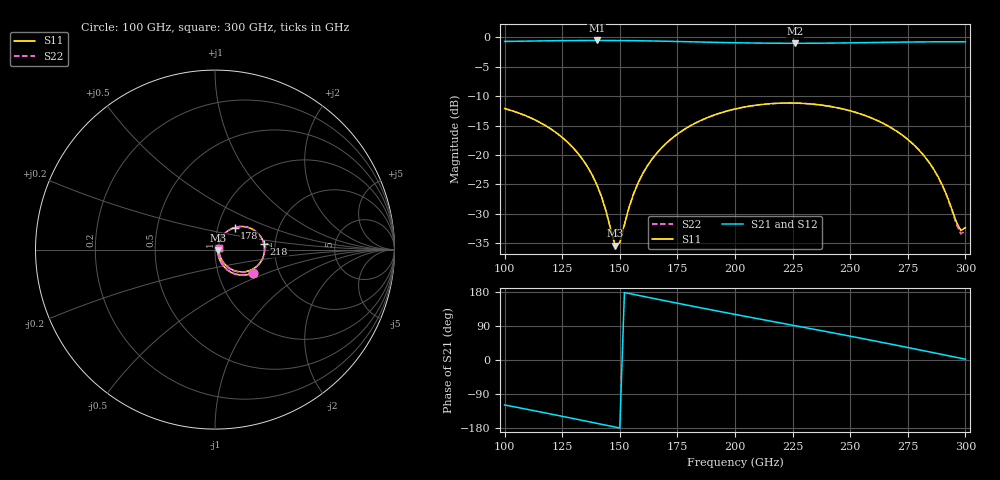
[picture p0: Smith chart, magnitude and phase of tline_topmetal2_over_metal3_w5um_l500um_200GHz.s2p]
#  GHZ S DB R 50
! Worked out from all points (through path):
!   101 points, 100 GHz to 300 GHz, reference 50 ohm
!   highest |S21| = -0.54 dB at 140 GHz (marker M1); lowest = -1.0 dB at 226 GHz (marker M2)
!   group delay of S21, straight-line fit = 3.3 ps
!   lowest |S11| = -35.4 dB at 148 GHz (marker M3), VSWR 1.03, Z = 51.6 - j0.517 ohm
!   |S11| at or under -10 dB: start of sweep to end of sweep
!   |S22| runs from -35.5 to -11.2 dB; largest |S21 - S12| = 1.1e-14
!   S11 on the Smith chart (normalised r, x): 100 GHz: 1.47, -0.41; 178 GHz: 1.20, +0.30; 218 GHz: 1.75, +0.12; 300 GHz: 1.05, +0.02
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100  -12.11 -31.4  -0.71 -118.6  -0.71 -118.6  -12.11 -31.6
120  -15.56 -52.3  -0.60 -142.5  -0.60 -142.5  -15.56 -52.5
134  -20.83 -64.0  -0.55 -159.7  -0.55 -159.7  -20.83 -64.3
140  -25.03 -64.5  -0.54 -167.1  -0.54 -167.1  -25.03 -64.9
144  -29.50 -57.1  -0.54 -172.1  -0.54 -172.1  -29.52 -57.6
148  -35.40 -17.1  -0.55 -177.0  -0.55 -177.0  -35.50 -17.6
150  -34.91 21.4  -0.56 -179.5  -0.56 -179.5  -35.00 21.5
154  -28.91 54.8  -0.57 175.6  -0.57 175.6  -28.94 54.9
158  -24.69 60.9  -0.59 170.6  -0.59 170.6  -24.70 60.9
168  -18.84 57.2  -0.66 158.4  -0.66 158.4  -18.84 57.1
178  -15.65 48.2  -0.74 146.3  -0.74 146.3  -15.66 48.1
200  -12.19 25.5  -0.93 120.4  -0.93 120.4  -12.19 25.3
218  -11.23 6.5  -1.01 99.7  -1.01 99.7  -11.23 6.2
226  -11.19 -1.9  -1.02 90.6  -1.02 90.6  -11.19 -2.2
234  -11.37 -10.3  -1.01 81.4  -1.01 81.4  -11.37 -10.7
250  -12.49 -27.1  -0.95 62.9  -0.95 62.9  -12.50 -27.5
268  -15.43 -45.2  -0.84 41.4  -0.84 41.4  -15.43 -45.9
276  -17.69 -52.2  -0.81 31.7  -0.81 31.7  -17.70 -53.0
284  -21.12 -56.6  -0.78 21.9  -0.78 21.9  -21.14 -57.8
290  -25.14 -54.5  -0.77 14.5  -0.77 14.5  -25.21 -56.2
298  -32.82 -6.6  -0.78 4.6  -0.78 4.6  -33.40 -7.6
300  -32.35 20.1  -0.78 2.1  -0.78 2.1  -32.88 21.0
